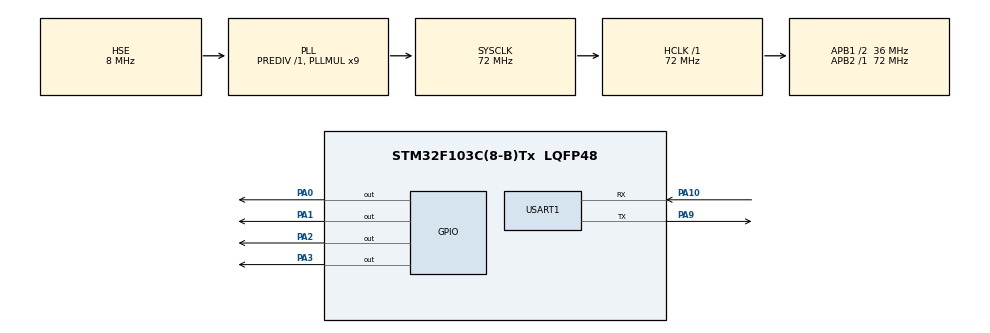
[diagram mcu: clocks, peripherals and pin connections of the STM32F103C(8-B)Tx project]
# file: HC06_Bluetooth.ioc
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Mcu.Family=STM32F1
Mcu.Name=STM32F103C(8-B)Tx
Mcu.Package=LQFP48
NVIC.PriorityGroup=NVIC_PRIORITYGROUP_4
NVIC.USART1_IRQn=true\:1\:0\:true\:false\:true\:true\:true
PA0-WKUP.GPIO_PuPd=GPIO_PULLDOWN
PA0-WKUP.PinState=GPIO_PIN_SET
PA0-WKUP.Signal=GPIO_Output
PA1.GPIO_PuPd=GPIO_PULLDOWN
PA1.PinState=GPIO_PIN_SET
PA1.Signal=GPIO_Output
PA10.Mode=Asynchronous
PA10.Signal=USART1_RX
PA13.Mode=Serial_Wire
PA13.Signal=SYS_JTMS-SWDIO
PA14.Mode=Serial_Wire
PA14.Signal=SYS_JTCK-SWCLK
PA2.GPIO_PuPd=GPIO_PULLDOWN
PA2.PinState=GPIO_PIN_SET
PA2.Signal=GPIO_Output
PA3.GPIO_PuPd=GPIO_PULLDOWN
PA3.PinState=GPIO_PIN_SET
PA3.Signal=GPIO_Output
PA9.Mode=Asynchronous
PA9.Signal=USART1_TX
PD0-OSC_IN.Mode=HSE-External-Oscillator
PD0-OSC_IN.Signal=RCC_OSC_IN
PD1-OSC_OUT.Mode=HSE-External-Oscillator
PD1-OSC_OUT.Signal=RCC_OSC_OUT
ProjectManager.HeapSize=0x200
ProjectManager.StackSize=0x400
ProjectManager.TargetToolchain=MDK-ARM V5.27
RCC.AHBFreq_Value=72000000
RCC.APB1CLKDivider=RCC_HCLK_DIV2
RCC.APB1Freq_Value=36000000
RCC.APB1TimFreq_Value=72000000
RCC.APB2Freq_Value=72000000
RCC.APB2TimFreq_Value=72000000
RCC.HCLKFreq_Value=72000000
RCC.PLLMUL=RCC_PLL_MUL9
RCC.PLLSourceVirtual=RCC_PLLSOURCE_HSE
RCC.SYSCLKFreq_VALUE=72000000
RCC.SYSCLKSource=RCC_SYSCLKSOURCE_PLLCLK
RCC.USBFreq_Value=72000000
USART1.VirtualMode=VM_ASYNC
board=custom

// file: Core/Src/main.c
/* USER CODE BEGIN Header */
/**
  ******************************************************************************
  * @file           : main.c
  * @brief          : Main program body
  ******************************************************************************
  * @attention
  *
  * <h2><center>&copy; Copyright (c) 2021 STMicroelectronics.
  * All rights reserved.</center></h2>
  *
  * This software component is licensed by ST under BSD 3-Clause license,
  * the "License"; You may not use this file except in compliance with the
  * License. You may obtain a copy of the License at:
  *                        opensource.org/licenses/BSD-3-Clause
  *
  ******************************************************************************
  */
/* USER CODE END Header */
#include "main.h"

UART_HandleTypeDef huart1;

void SystemClock_Config(void);
static void MX_GPIO_Init(void);
static void MX_USART1_UART_Init(void);

/* USER CODE BEGIN 0 */
uint8_t data;
uint8_t flag;
uint8_t selectPin;
void HAL_UART_RxCpltCallback(UART_HandleTypeDef *huart)
{
	flag = 1;
	HAL_UART_Receive_IT(&huart1, &data, 1);
}
/* USER CODE END 0 */

int main(void)
{

  /* MCU Configuration--------------------------------------------------------*/

  /* Reset of all peripherals, Initializes the Flash interface and the Systick. */
  HAL_Init();

  /* Configure the system clock */
  SystemClock_Config();

  /* Initialize all configured peripherals */
  MX_GPIO_Init();
  MX_USART1_UART_Init();
  /* USER CODE BEGIN 2 */
	HAL_UART_Receive_IT(&huart1, &data, 1);
  /* USER CODE END 2 */

  /* Infinite loop */
  while (1)
  {

    /* USER CODE BEGIN 3 */
		if(flag == 1)
		{
			if(data >= '1' && data <= '4') // bat led
			{
				selectPin = (GPIO_PIN_0 << (data - '1'));
				HAL_GPIO_WritePin(GPIOA, selectPin, GPIO_PIN_RESET);
			}

			if(data >= 'A' && data <= 'D')
			{
				selectPin = (GPIO_PIN_0 << (data - 'A'));
				HAL_GPIO_WritePin(GPIOA, selectPin, GPIO_PIN_SET);
			}

			flag = 0;
		}
  }
  /* USER CODE END 3 */
}

void SystemClock_Config(void)
{
  RCC_OscInitTypeDef RCC_OscInitStruct = {0};
  RCC_ClkInitTypeDef RCC_ClkInitStruct = {0};

  /** Initializes the RCC Oscillators according to the specified parameters
  * in the RCC_OscInitTypeDef structure.
  */
  RCC_OscInitStruct.OscillatorType = RCC_OSCILLATORTYPE_HSE;
  RCC_OscInitStruct.HSEState = RCC_HSE_ON;
  RCC_OscInitStruct.HSEPredivValue = RCC_HSE_PREDIV_DIV1;
  RCC_OscInitStruct.HSIState = RCC_HSI_ON;
  RCC_OscInitStruct.PLL.PLLState = RCC_PLL_ON;
  RCC_OscInitStruct.PLL.PLLSource = RCC_PLLSOURCE_HSE;
  RCC_OscInitStruct.PLL.PLLMUL = RCC_PLL_MUL9;
  if (HAL_RCC_OscConfig(&RCC_OscInitStruct) != HAL_OK)
  {
    Error_Handler();
  }
  /** Initializes the CPU, AHB and APB buses clocks
  */
  RCC_ClkInitStruct.ClockType = RCC_CLOCKTYPE_HCLK|RCC_CLOCKTYPE_SYSCLK
                              |RCC_CLOCKTYPE_PCLK1|RCC_CLOCKTYPE_PCLK2;
  RCC_ClkInitStruct.SYSCLKSource = RCC_SYSCLKSOURCE_PLLCLK;
  RCC_ClkInitStruct.AHBCLKDivider = RCC_SYSCLK_DIV1;
  RCC_ClkInitStruct.APB1CLKDivider = RCC_HCLK_DIV2;
  RCC_ClkInitStruct.APB2CLKDivider = RCC_HCLK_DIV1;

  if (HAL_RCC_ClockConfig(&RCC_ClkInitStruct, FLASH_LATENCY_2) != HAL_OK)
  {
    Error_Handler();
  }
}

static void MX_USART1_UART_Init(void)
{

  huart1.Instance = USART1;
  huart1.Init.BaudRate = 115200;
  huart1.Init.WordLength = UART_WORDLENGTH_8B;
  huart1.Init.StopBits = UART_STOPBITS_1;
  huart1.Init.Parity = UART_PARITY_NONE;
  huart1.Init.Mode = UART_MODE_TX_RX;
  huart1.Init.HwFlowCtl = UART_HWCONTROL_NONE;
  huart1.Init.OverSampling = UART_OVERSAMPLING_16;
  if (HAL_UART_Init(&huart1) != HAL_OK)
  {
    Error_Handler();
  }

}

static void MX_GPIO_Init(void)
{
  GPIO_InitTypeDef GPIO_InitStruct = {0};

  /* GPIO Ports Clock Enable */
  __HAL_RCC_GPIOD_CLK_ENABLE();
  __HAL_RCC_GPIOA_CLK_ENABLE();

  /*Configure GPIO pin Output Level */
  HAL_GPIO_WritePin(GPIOA, GPIO_PIN_0|GPIO_PIN_1|GPIO_PIN_2|GPIO_PIN_3, GPIO_PIN_SET);

  /*Configure GPIO pins : PA0 PA1 PA2 PA3 */
  GPIO_InitStruct.Pin = GPIO_PIN_0|GPIO_PIN_1|GPIO_PIN_2|GPIO_PIN_3;
  GPIO_InitStruct.Mode = GPIO_MODE_OUTPUT_PP;
  GPIO_InitStruct.Pull = GPIO_PULLDOWN;
  GPIO_InitStruct.Speed = GPIO_SPEED_FREQ_LOW;
  HAL_GPIO_Init(GPIOA, &GPIO_InitStruct);

}

void Error_Handler(void)
{
  __disable_irq();
  while (1)
  {
  }
}

/************************ (C) COPYRIGHT STMicroelectronics *****END OF FILE****/
